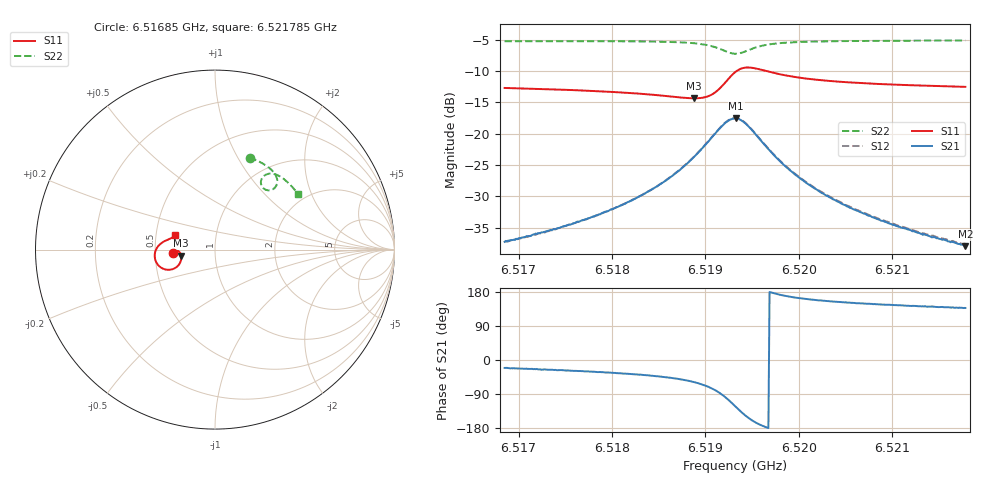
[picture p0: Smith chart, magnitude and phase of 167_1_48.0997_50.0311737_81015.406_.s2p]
#  HZ  S  RI  R  50.00
! Rohde & Schwarz Vector Network Analyzer
! Rohde-Schwarz,ZNB20-2Port,1311601062101988,3.16
! Created: UTC 12/23/2023, 3:51:22 AM
! freq[Hz]  re:S11  im:S11  re:S21  im:S21  re:S12  im:S12  re:S22  im:S22
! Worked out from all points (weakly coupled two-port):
!   401 points, 6.51685 GHz to 6.521785 GHz, reference 50 ohm
!   highest |S21| = -17.56 dB at 6.51933 GHz (marker M1); lowest = -38.0 dB at 6.521785 GHz (marker M2)
!   lowest |S11| = -14.3 dB at 6.518874 GHz (marker M3), VSWR 1.47, Z = 34 - j2.34 ohm
!   |S11| at or under -10 dB: start of sweep to 6.519334 GHz; 6.519656 GHz to end of sweep
!   |S22| runs from -7.2 to -5.1 dB; largest |S21 - S12| = 0.0041
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6.5168501e9  -0.2312 -0.0199  0.0128 -0.00489  0.0129 -0.00451  0.1927 0.513
6.5172572e9  -0.2271 -0.0138  0.0147 -0.00695  0.0149 -0.00625  0.2227 0.501
6.5176767e9  -0.2214 -0.00856  0.0176 -0.00996  0.0178 -0.00933  0.2538 0.4861
6.5181209e9  -0.2131 -0.00593  0.0221 -0.0159  0.0227 -0.0152  0.2872 0.4663
6.5185034e9  -0.2024 -0.00981  0.0283 -0.0268  0.0292 -0.0258  0.3166 0.4423
6.5187008e9  -0.1951 -0.0179  0.0322 -0.0376  0.0334 -0.037  0.332 0.4245
6.5188735e9  -0.1889 -0.0331  0.0343 -0.0547  0.0361 -0.054  0.3436 0.4022
6.5189846e9  -0.188 -0.0509  0.032 -0.0723  0.0343 -0.0717  0.3469 0.3822
6.5190833e9  -0.1949 -0.074  0.0222 -0.0935  0.0252 -0.0934  0.3429 0.3599
6.519219e9  -0.2356 -0.1088  -0.0196 -0.1214  -0.0162 -0.1227  0.3121 0.3318
6.5193177e9  -0.291 -0.1056  -0.0692 -0.1129  -0.0663 -0.1158  0.2742 0.3381
6.51933e9  -0.2978 -0.102  -0.0749 -0.1092  -0.0721 -0.112  0.2702 0.3413
6.5193794e9  -0.32 -0.0823  -0.0924 -0.0895  -0.0905 -0.0929  0.2587 0.3578
6.5194411e9  -0.3341 -0.0515  -0.1015 -0.0613  -0.1006 -0.0646  0.2559 0.3806
6.5195398e9  -0.3321 -0.00916  -0.0954 -0.0253  -0.0954 -0.0284  0.2697 0.4078
6.5196508e9  -0.3163 0.0194  -0.0788 -0.00344  -0.0795 -0.00594  0.2919 0.421
6.5198976e9  -0.2855 0.0447  -0.0503 0.0113  -0.0512 0.0101  0.3321 0.4207
6.5201443e9  -0.2669 0.0535  -0.0351 0.0132  -0.036 0.0124  0.3593 0.4093
6.5205268e9  -0.2503 0.0608  -0.023 0.0124  -0.0237 0.0119  0.3902 0.388
6.520971e9  -0.2384 0.0674  -0.0158 0.0108  -0.0165 0.0105  0.4184 0.3619
6.5213905e9  -0.2299 0.0732  -0.0119 0.0096  -0.0123 0.00948  0.4411 0.3366
6.5217853e9  -0.2234 0.0786  -0.00928 0.00855  -0.00989 0.00862  0.4602 0.3121
